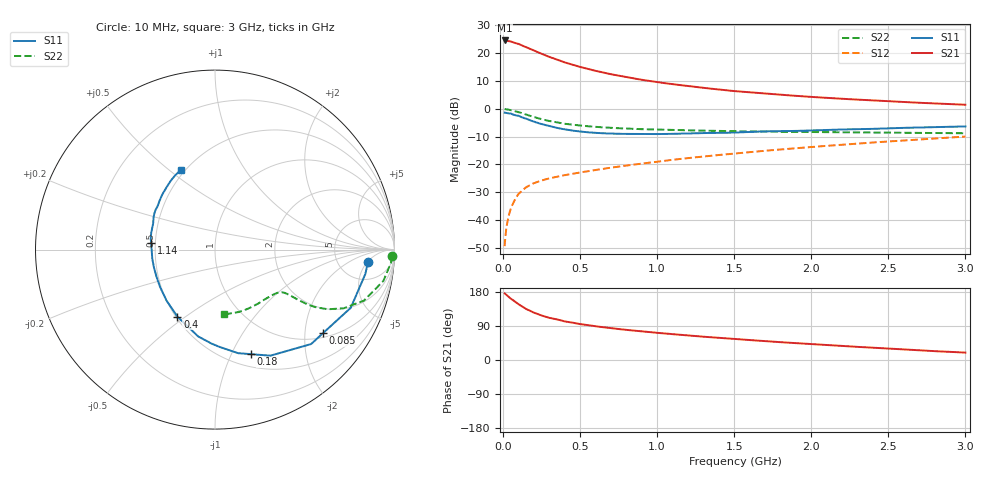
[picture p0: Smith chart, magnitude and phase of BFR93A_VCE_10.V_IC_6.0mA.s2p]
! Infineon Technologies  Discrete & RF Semiconductors
! BFR93A
! VCE =  10. V,  IC =  6.0 mA
! Common Emitter S-Parameters:  Nov 2015
# GHz  S  MA  R  50
!  f  S11  S21  S12  S22
! GHz  MAG  ANG  MAG  ANG  MAG  ANG  MAG  ANG
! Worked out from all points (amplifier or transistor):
!   180 points, 10 MHz to 3 GHz, reference 50 ohm
!   highest |S21| = 24.6 dB at 10 MHz (marker M1)
!   |S21| within 3 dB of that: start of sweep to 174.4 MHz
!   unconditionally stable (mu >= 1): 733.5 MHz to 2.508 GHz
!   at 160 MHz: K = 0.36, MSG = 24.9 dB, |S12| = -27.9 dB
!   at 1.22 GHz: K = 1.10, MAG = 10.9 dB, |S12| = -17.6 dB
!   at 3 GHz: K = 0.94, MSG = 5.7 dB, |S12| = -10.0 dB
!   S11 on the Smith chart (normalised r, x): 10 MHz: 10, -5; 85 MHz: 1.12, -2.48; 180 MHz: 0.63, -1.19; 400 MHz: 0.51, -0.47; 1.14 GHz: 0.47, +0.04; 3 GHz: 0.47, +0.55
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0.01  0.8556 -4.7  16.96 175.9  0.0034 86.6  0.9885 -2.2
0.02  0.8483 -9.3  16.85 172.4  0.0067 82.7  0.9832 -4.3
0.05  0.8229 -23.2  16.27 161.9  0.0161 78.5  0.9544 -10.5
0.085  0.7608 -37.7  15.06 151.8  0.0254 70.3  0.8983 -16.2
0.1  0.7507 -44.5  14.71 147.0  0.0295 68.4  0.8773 -18.9
0.15  0.6669 -62.4  12.86 134.4  0.039 61.7  0.7881 -24.5
0.18  0.6163 -71.0  11.82 129.0  0.0432 59.1  0.7426 -26.4
0.2  0.5913 -77.4  11.19 124.9  0.0461 57.7  0.7127 -27.8
0.24  0.5425 -87.4  10.03 118.9  0.0505 55.5  0.663 -29.3
0.26  0.5237 -92.2  9.516 116.1  0.0525 54.8  0.6414 -29.9
0.3  0.4926 -101.0  8.591 111.3  0.0563 53.9  0.6048 -30.6
0.4  0.4283 -119.2  6.835 101.8  0.0643 53.5  0.5393 -31.2
0.52  0.3862 -135.9  5.49 93.7  0.0734 54.5  0.4944 -31.3
0.6  0.3704 -145.6  4.819 88.9  0.0794 55.6  0.4734 -31.5
0.7  0.3593 -155.2  4.191 83.8  0.0876 56.4  0.4551 -31.9
0.9  0.3532 -171.6  3.326 75.6  0.1036 58.3  0.4309 -33.5
1.02  0.3524 -179.3  2.97 71.0  0.114 59.0  0.4223 -34.8
1.14  0.3582 173.8  2.693 66.9  0.1249 59.5  0.4139 -36.7
1.52  0.3764 156.1  2.065 54.8  0.1591 60.1  0.3955 -43.2
2.02  0.4109 139.0  1.626 41.3  0.2081 58.8  0.3815 -54.2
2.52  0.4475 125.4  1.36 29.8  0.2614 55.8  0.3728 -67.2
3  0.4829 113.3  1.185 19.5  0.3175 51.9  0.3641 -82.2
